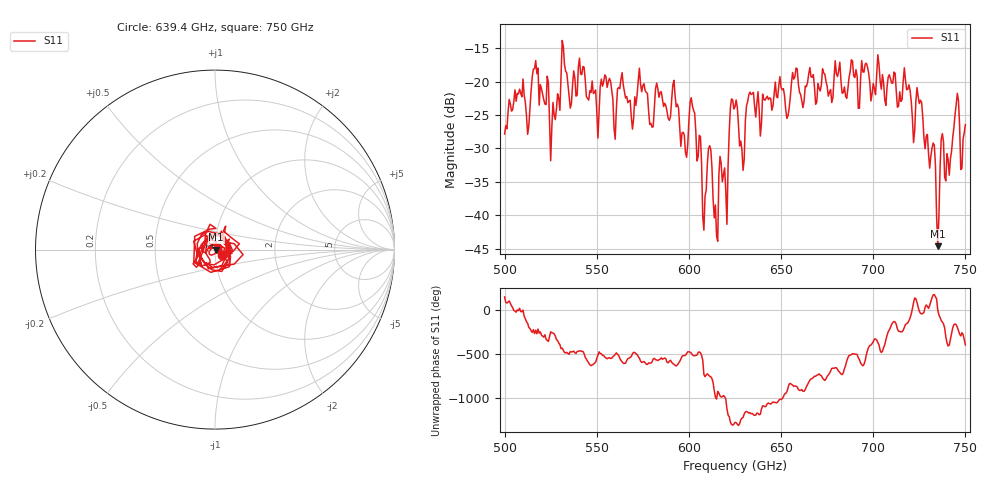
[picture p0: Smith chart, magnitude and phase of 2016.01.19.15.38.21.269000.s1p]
!Created with skrf (http://scikit-rf.org).
# GHz S RI R 50.0
!freq ReS11 ImS11
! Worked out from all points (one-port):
!   401 points, 500 GHz to 750 GHz, reference 50 ohm
!   lowest |S11| = -44.6 dB at 735 GHz (marker M1), VSWR 1.01, Z = 50.6 - j0.0366 ohm
!   |S11| at or under -10 dB: start of sweep to end of sweep
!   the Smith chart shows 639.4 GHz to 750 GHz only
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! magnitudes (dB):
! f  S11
! 500 GHz  -27.8
! 508.8 GHz  -21.7
! 513.1 GHz  -26.7
! 516.9 GHz  -16.9
! 526.2 GHz  -23.1
! 531.2 GHz  -13.8
! 550 GHz  -24.4
! 562.5 GHz  -21.1
! 593.8 GHz  -23.4
! 598.1 GHz  -30.7
! 601.9 GHz  -23.6
! 608.1 GHz  -42.2
! 611.2 GHz  -29.6
! 614.4 GHz  -38.5
! 625 GHz  -23.8
! 628.8 GHz  -30.2
! 633.8 GHz  -21.9
! 653.8 GHz  -25.1
! 656.2 GHz  -18.6
! 687.5 GHz  -18.5
! 718.8 GHz  -21.1
! 721.9 GHz  -29.1
! 725 GHz  -23.3
! 735 GHz  -44.6
! 737.5 GHz  -27.8
! 740 GHz  -30.8
! 745 GHz  -23.5
! 750 GHz  -26.4
